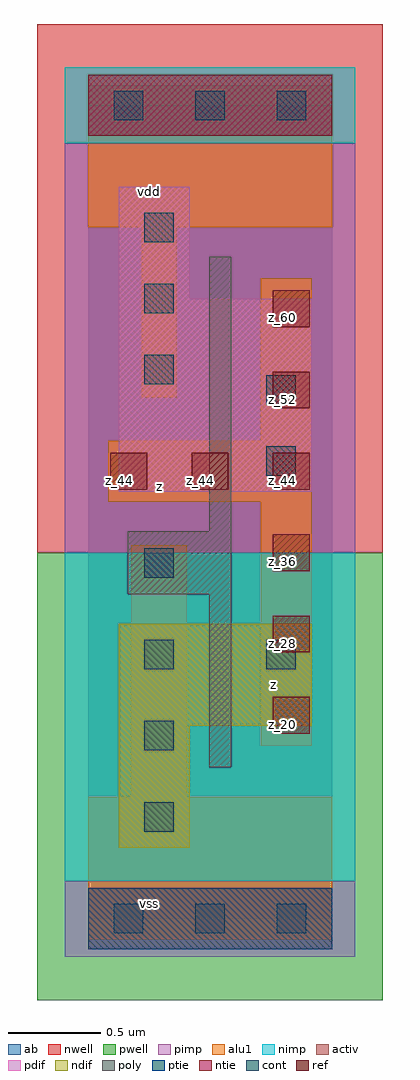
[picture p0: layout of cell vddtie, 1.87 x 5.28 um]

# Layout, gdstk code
import gdstk
lib = gdstk.Library(unit=1e-6, precision=2.5e-09)
def R(c, l, rs):  # rectangles x0, y0, x1, y1
    for r in rs: c.add(gdstk.rectangle(r[:2], r[2:], *l))
def A(c, l, x, y, w, h, nx, ny, dx, dy):  # array of equal rectangles
    R(c, l, [(x+i*dx, y+j*dy, x+i*dx+w, y+j*dy+h) for i in range(nx) for j in range(ny)])
ndif = (3, 0)
pdif = (4, 0)
ntie = (5, 0)
ptie = (6, 0)
ref = (24, 0)
cont = (25, 0)
pwell = (41, 0)
nwell = (42, 0)
activ = (43, 0)
pimp = (44, 0)
nimp = (45, 0)
poly = (46, 0)
alu1 = (49, 0)
ab = (63, 0)

vddtie = lib.new_cell('vddtie')
R(vddtie, ndif, [(0.165,0.385,0.55,1.045), (0.165,1.045,1.21,1.595)])
R(vddtie, pdif, [(0.165,2.31,1.21,3.355), (0.165,3.355,0.55,3.96)])
R(vddtie, ntie, [(0,4.235,1.32,4.565)])
R(vddtie, ptie, [(0,-0.165,1.32,0.165)])
A(vddtie, ref, 1, 1, 0.2, 0.2, 1, 3, 0, 0.44)
A(vddtie, ref, 0.12, 2.32, 0.2, 0.2, 3, 1, 0.44, 0)
R(vddtie, ref, [(1,2.76,1.2,2.96), (1,3.2,1.2,3.4)])
A(vddtie, cont, 0.14, -0.08, 0.16, 0.16, 3, 2, 0.44, 4.4)
A(vddtie, cont, 0.305, 0.47, 0.16, 0.16, 1, 3, 0, 0.44)
A(vddtie, cont, 0.305, 2.89, 0.16, 0.16, 1, 3, 0, 0.385)
R(vddtie, cont, [(0.965,1.35,1.125,1.51), (0.305,1.845,0.465,2.005), (0.965,2.395,1.125,2.555), (0.965,2.78,1.125,2.94)])
R(vddtie, pwell, [(-0.275,-0.44,1.595,1.98)])
R(vddtie, nwell, [(-0.275,1.98,1.595,4.84)])
R(vddtie, activ, [(0,-0.165,1.32,0.165), (0.165,0.385,0.55,1.045), (0.165,1.045,1.21,1.595), (0.165,2.31,1.21,3.355), (0.165,3.355,0.55,3.96), (0,4.235,1.32,4.565)])
R(vddtie, pimp, [(-0.125,-0.205,1.445,0.205), (-0.125,1.98,1.445,4.195)])
R(vddtie, nimp, [(-0.125,0.205,1.445,1.98), (-0.125,4.195,1.445,4.605)])
R(vddtie, poly, [(0.655,0.82,0.775,1.755), (0.215,1.755,0.775,2.095), (0.655,2.095,0.775,3.58)])
R(vddtie, alu1, [(0,-0.11,1.32,0.66), (0.235,0.66,0.535,2.02), (0.935,0.935,1.21,2.255), (0.11,2.255,1.21,2.585), (0.935,2.585,1.21,3.465), (0.29,2.82,0.48,3.74), (0,3.74,1.32,4.51)])
R(vddtie, ab, [(0,0,1.32,4.4)])
vddtie.add(gdstk.Label('vss', (0.33,0.0825), layer=49, texttype=0))
vddtie.add(gdstk.Label('z', (1.0025,1.265), layer=49, texttype=0))
vddtie.add(gdstk.Label('z', (0.385,2.3375), layer=49, texttype=0))
vddtie.add(gdstk.Label('vdd', (0.33,3.9325), layer=49, texttype=0))
vddtie.add(gdstk.Label('z_44', (0.61,2.37), layer=24, texttype=0))
vddtie.add(gdstk.Label('z_20', (1.05,1.05), layer=24, texttype=0))
vddtie.add(gdstk.Label('z_28', (1.05,1.49), layer=24, texttype=0))
vddtie.add(gdstk.Label('z_36', (1.05,1.93), layer=24, texttype=0))
vddtie.add(gdstk.Label('z_44', (1.05,2.37), layer=24, texttype=0))
vddtie.add(gdstk.Label('z_52', (1.05,2.81), layer=24, texttype=0))
vddtie.add(gdstk.Label('z_60', (1.05,3.25), layer=24, texttype=0))
vddtie.add(gdstk.Label('z_44', (0.17,2.37), layer=24, texttype=0))

lib.write_gds('vddtie.gds')
